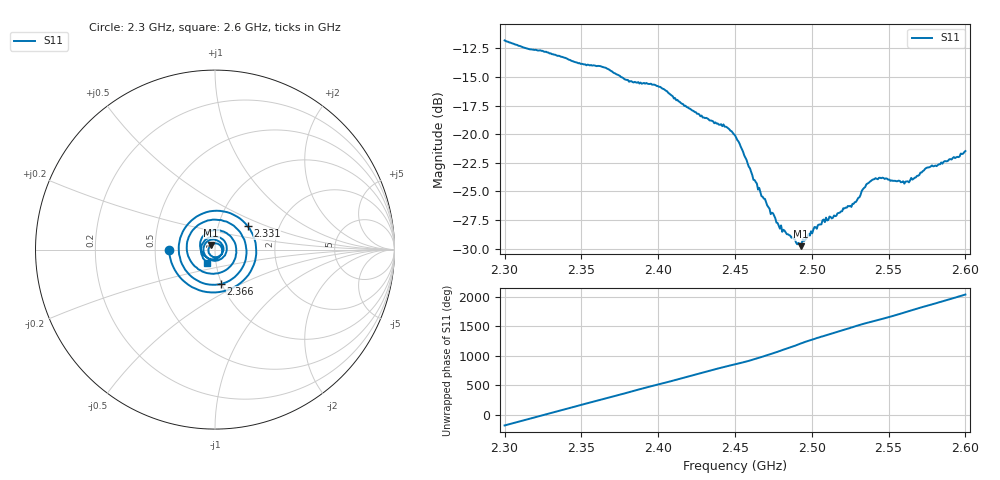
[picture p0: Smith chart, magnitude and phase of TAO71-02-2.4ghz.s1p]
! NanoVNA-App
! Date: 2026-05-22 23:29:34
! Start: 2.3GHz Stop: 2.6GHz Points: 401
! S-Parameter data: F S11
# Hz S RI R 50
!  Frequency  S11_Real  S11_Imag
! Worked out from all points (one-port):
!   401 points, 2.3 GHz to 2.6 GHz, reference 50 ohm
!   lowest |S11| = -29.8 dB at 2.493 GHz (marker M1), VSWR 1.07, Z = 47.9 + j2.41 ohm
!   |S11| at or under -10 dB: start of sweep to end of sweep
!   S11 on the Smith chart (normalised r, x): 2.3 GHz: 0.59, -0.00; 2.331 GHz: 1.38, +0.38; 2.366 GHz: 0.99, -0.40; 2.6 GHz: 0.91, -0.13
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2.3e9  -0.2566 -0.00301
2.3075e9  -0.1477 -0.1965
2.3135e9  0.0229 -0.2366
2.3225e9  0.2164 -0.0842
2.33075e9  0.1818 0.1302
2.3375e9  0.0284 0.2157
2.3435e9  -0.1174 0.1731
2.351e9  -0.2022 0.00989
2.35925e9  -0.1146 -0.1627
2.366e9  0.0338 -0.1918
2.375e9  0.171 -0.0556
2.38175e9  0.1473 0.0853
2.39075e9  -0.0112 0.1671
2.402e9  -0.1567 0.0306
2.4125e9  -0.0698 -0.1227
2.42e9  0.0507 -0.1194
2.429e9  0.1181 -0.00717
2.4395e9  0.0381 0.1032
2.45e9  -0.072 0.0679
2.46575e9  -0.0201 -0.0547
2.4875e9  0.00728 0.0347
2.49275e9  -0.0206 0.0251
2.51e9  0.00332 -0.0419
2.525e9  0.0409 0.0265
2.54525e9  -0.0642 -0.00231
2.5625e9  0.0425 -0.0455
2.58125e9  -0.00671 0.0723
2.6e9  -0.043 -0.0726
